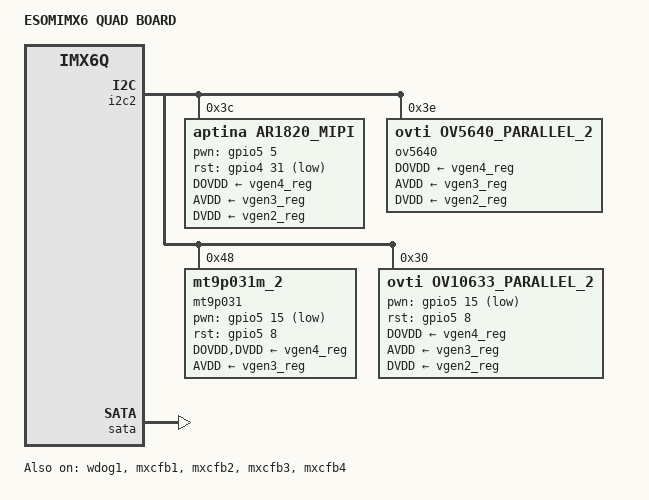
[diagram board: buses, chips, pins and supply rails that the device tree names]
/*
 * Copyright 2012=2015 Freescale Semiconductor, Inc.
 * Copyright 2011 Linaro Ltd.
 *
 * The code contained herein is licensed under the GNU General Public
 * License. You may obtain a copy of the GNU General Public License
 * Version 2 or later at the following locations:
 *
 * http://www.opensource.org/licenses/gpl-license.html
 * http://www.gnu.org/copyleft/gpl.html
 */

/dts-v1/;

#define OV8825_MIPI_CAMERA 0

#include "imx6q.dtsi"
#include "imx6qdl-esomimx6.dtsi"

/ {
	model = "ESOMIMX6 QUAD BOARD";
	compatible = "fsl,imx6q-ankaa", "fsl,imx6q";

	v4l2_cap_2 {
		compatible = "fsl,imx6q-v4l2-capture";
		ipu_id = <1>;
		csi_id = <1>;
		mclk_source = <0>;
		status = "okay";
	};

};

&cpu0 {
	arm-supply = <&reg_arm>;
	soc-supply = <&reg_soc>;
};

&gpc {
	/* use ldo-enable, u-boot will check it and configure */
	fsl,ldo-bypass = <0>;
	/* watchdog select of reset source */
	fsl,wdog-reset = <1>;
};

&wdog1 {
	status = "okay";
};

&wdog2 {
	status = "disabled";
};

&i2c2 {
        ar1820_mipi: ar1820_mipi@3C {
                compatible = "aptina,ar1820_mipi";
		reg = <0x3C>;
                clocks = <&clks 201>;
                clock-names = "csi_mclk";
                DOVDD-supply = <&vgen4_reg>; /* 1.8v */
                AVDD-supply = <&vgen3_reg>;  /* 2.8v, rev C board is VGEN3
                                                rev B board is VGEN5 */
                DVDD-supply = <&vgen2_reg>;  /* 1.5v*/
                pwn-gpios = <&gpio5 5 0>;   /* active high: DISP_DATA11 but it is not used by the camera module*/
                rst-gpios = <&gpio4 31 1>;   /* active low: DISP_DATA10 */
                ipu_id = <0>;
                csi_id = <1>;
                vc = <1>;
                mclk = <24000000>;
                mclk_source = <0>;
                status="okay";
        };
	ov5640: ov5640@3e {
		compatible = "ovti,ov5640_parallel_2";
		reg = <0x3e>;
		pinctrl-names = "default";
		pinctrl-0 = <&pinctrl_ov5640_csi1>;
		clocks = <&clks 201>;
		clock-names = "csi_mclk";
		DOVDD-supply = <&vgen4_reg>; /* 1.8v */
		AVDD-supply = <&vgen3_reg>;  /* 2.8v, on rev C board is VGEN3,
						on rev B board is VGEN5 */
		DVDD-supply = <&vgen2_reg>;  /* 1.5v*/
		/*pwn-gpios = <&gpio5 15 1>;*/   /* active high: DISP0_DAT21 */
		/*rst-gpios = <&gpio5 8 0>;*/   /* active low: DISP0_DAT14 */
		csi_id = <1>;
		ipu_id = <1>;
		mclk = <24000000>;
		mclk_source = <0>;
		status = "okay";
	};

	mt9p031: mt9p031@48 {
		compatible = "mt9p031m_2";
		reg = <0x48>;
		pinctrl-names = "default";
		pinctrl-0 = <&pinctrl_ov5640_csi1>;
		clocks = <&clks 201>;
		clock-names = "csi_mclk";
		DOVDD-supply = <&vgen4_reg>; /* 1.8v */
		AVDD-supply = <&vgen3_reg>;  /* 2.8v, on rev C board is VGEN3,
						on rev B board is VGEN5 */
		DVDD-supply = <&vgen4_reg>;  /* 1.8v*/
		pwn-gpios = <&gpio5 15 1>;   /* active high: DISP0_DAT21 */
		rst-gpios = <&gpio5 8 0>;   /* active low: DISP0_DAT14 */
		csi_id = <1>;
		ipu_id = <1>;
		mclk = <24000000>;
		mclk_source = <0>;
		status = "okay";
	};

	/* ov10633 parallel camera 1 */
	ov10633_parallel_2: ov10633@30 {
		compatible = "ovti,ov10633_parallel_2";
		reg = <0x30>;
		pinctrl-names = "default";
		pinctrl-0 = <&pinctrl_ov5640_csi1>;
		clocks = <&clks 201>;
		clock-names = "csi_mclk";
		DOVDD-supply = <&vgen4_reg>; /* 1.8v */ /* Not sure of these three values */
		AVDD-supply = <&vgen3_reg>;  /* 2.8v, on rev C board is VGEN3,
						on rev B board is VGEN5 */
		DVDD-supply = <&vgen2_reg>;  /* 1.5v*/
		pwn-gpios = <&gpio5 15 1>;   /* active high: DISP0_DAT21 */
		rst-gpios = <&gpio5 8 0>;   /* active low: DISP0_DAT14 */
		ipu_id = <1>;
		csi_id = <1>;
		mclk = <24000000>;
		mclk_source = <0>;

	};
};

&iomuxc	{
	parallel_camera {
		pinctrl_ov5640_csi1: ov5640_csi1 {
			fsl,pins = <
				MX6QDL_PAD_EIM_DA9__IPU2_CSI1_DATA00   0x0001B0B0
				MX6QDL_PAD_EIM_DA8__IPU2_CSI1_DATA01 	0x0001B0B0
				MX6QDL_PAD_EIM_DA7__IPU2_CSI1_DATA02 	0x0001B0B0
				MX6QDL_PAD_EIM_DA5__IPU2_CSI1_DATA04 	0x0001B0B0
				MX6QDL_PAD_EIM_DA4__IPU2_CSI1_DATA05 	0x0001B0B0
				MX6QDL_PAD_EIM_DA3__IPU2_CSI1_DATA06 	0x0001B0B0
				MX6QDL_PAD_EIM_DA2__IPU2_CSI1_DATA07 	0x0001B0B0
				MX6QDL_PAD_EIM_DA1__IPU2_CSI1_DATA08 	0x0001B0B0
				MX6QDL_PAD_EIM_DA0__IPU2_CSI1_DATA09 	0x0001B0B0
				MX6QDL_PAD_EIM_EB1__IPU2_CSI1_DATA10 	0x0001B0B0
				MX6QDL_PAD_EIM_EB0__IPU2_CSI1_DATA11 	0x0001B0B0
				MX6QDL_PAD_EIM_A17__IPU2_CSI1_DATA12 	0x0001B0B0
				MX6QDL_PAD_EIM_A18__IPU2_CSI1_DATA13 	0x0001B0B0
				MX6QDL_PAD_EIM_A19__IPU2_CSI1_DATA14 	0x0001B0B0
				MX6QDL_PAD_EIM_A20__IPU2_CSI1_DATA15 	0x0001B0B0
				MX6QDL_PAD_EIM_A21__IPU2_CSI1_DATA16 	0x0001B0B0
				MX6QDL_PAD_EIM_A22__IPU2_CSI1_DATA17 	0x0001B0B0
				MX6QDL_PAD_EIM_A23__IPU2_CSI1_DATA18 	0x0001B0B0
				MX6QDL_PAD_EIM_A24__IPU2_CSI1_DATA19 	0x0001B0B0
				MX6QDL_PAD_EIM_DA10__IPU2_CSI1_DATA_EN 	0x0001B0B0
				MX6QDL_PAD_EIM_DA11__IPU2_CSI1_HSYNC 	0x0001B0B0
				MX6QDL_PAD_EIM_DA12__IPU2_CSI1_VSYNC 	0x0001B0B0
				MX6QDL_PAD_EIM_A16__IPU2_CSI1_PIXCLK 	0x0001B0B0
			>;
		};
	};
};



&mxcfb1 {
	status = "okay";
};

&mxcfb2 {
	status = "okay";
};

&mxcfb3 {
	status = "okay";
};

&mxcfb4 {
	status = "okay";
};

&sata {
	status = "okay";
};


